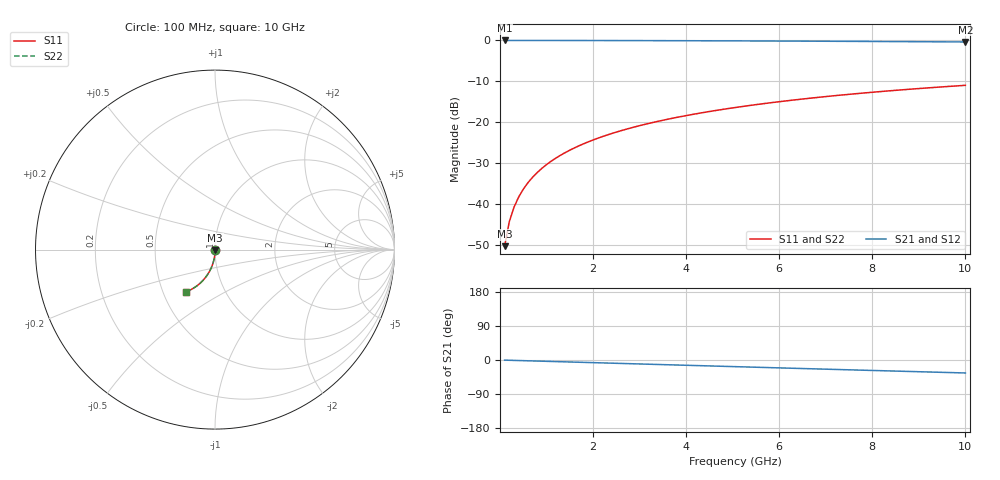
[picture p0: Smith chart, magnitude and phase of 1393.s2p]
# Hz S RI R 50.00
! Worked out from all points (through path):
!   100 points, 100 MHz to 10 GHz, reference 50 ohm
!   highest |S21| = 0.00 dB at 100 MHz (marker M1); lowest = -0.4 dB at 10 GHz (marker M2)
!   group delay of S21, straight-line fit = 9.53 ps
!   lowest |S11| = -50.2 dB at 100 MHz (marker M3), VSWR 1.01, Z = 50 - j0.307 ohm
!   |S11| at or under -10 dB: start of sweep to end of sweep
!   |S22| runs from -50.2 to -11.0 dB; largest |S21 - S12| = 0
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1e8  0.000468 -0.00306  0.9995 -0.00607  0.9995 -0.00607  0.000468 -0.00306
2e8  0.000411 -0.00613  0.9994 -0.0121  0.9994 -0.0121  0.000411 -0.00613
3e8  0.000316 -0.00919  0.9993 -0.0182  0.9993 -0.0182  0.000316 -0.00919
4e8  0.000183 -0.0123  0.9991 -0.0243  0.9991 -0.0243  0.000183 -0.0123
5e8  1.32e-05 -0.0153  0.9989 -0.0304  0.9989 -0.0304  1.32e-05 -0.0153
6e8  -0.000194 -0.0184  0.9986 -0.0364  0.9986 -0.0364  -0.000194 -0.0184
7e8  -0.000439 -0.0214  0.9983 -0.0425  0.9983 -0.0425  -0.000439 -0.0214
8e8  -0.000721 -0.0245  0.998 -0.0486  0.998 -0.0486  -0.000721 -0.0245
9e8  -0.00104 -0.0275  0.9976 -0.0546  0.9976 -0.0546  -0.00104 -0.0275
1.1e9  -0.00179 -0.0336  0.9966 -0.0667  0.9966 -0.0667  -0.00179 -0.0336
1.4e9  -0.00319 -0.0427  0.9949 -0.0849  0.9949 -0.0849  -0.00319 -0.0427
1.8e9  -0.00557 -0.0547  0.9919 -0.109  0.9919 -0.109  -0.00557 -0.0547
2.1e9  -0.00774 -0.0637  0.9892 -0.1269  0.9892 -0.1269  -0.00774 -0.0637
2.5e9  -0.0111 -0.0754  0.985 -0.1508  0.985 -0.1508  -0.0111 -0.0754
2.9e9  -0.0151 -0.087  0.98 -0.1745  0.98 -0.1745  -0.0151 -0.087
3.4e9  -0.0208 -0.1012  0.9728 -0.2038  0.9728 -0.2038  -0.0208 -0.1012
4.2e9  -0.0317 -0.1231  0.9591 -0.2499  0.9591 -0.2499  -0.0317 -0.1231
5.1e9  -0.0463 -0.1462  0.9406 -0.3003  0.9406 -0.3003  -0.0463 -0.1462
5.9e9  -0.0613 -0.1652  0.9215 -0.3437  0.9215 -0.3437  -0.0613 -0.1652
6.7e9  -0.0779 -0.1826  0.9001 -0.3855  0.9001 -0.3855  -0.0779 -0.1826
8.4e9  -0.1177 -0.2135  0.848 -0.4686  0.848 -0.4686  -0.1177 -0.2135
1e10  -0.1593 -0.2344  0.792 -0.5389  0.792 -0.5389  -0.1593 -0.2344
